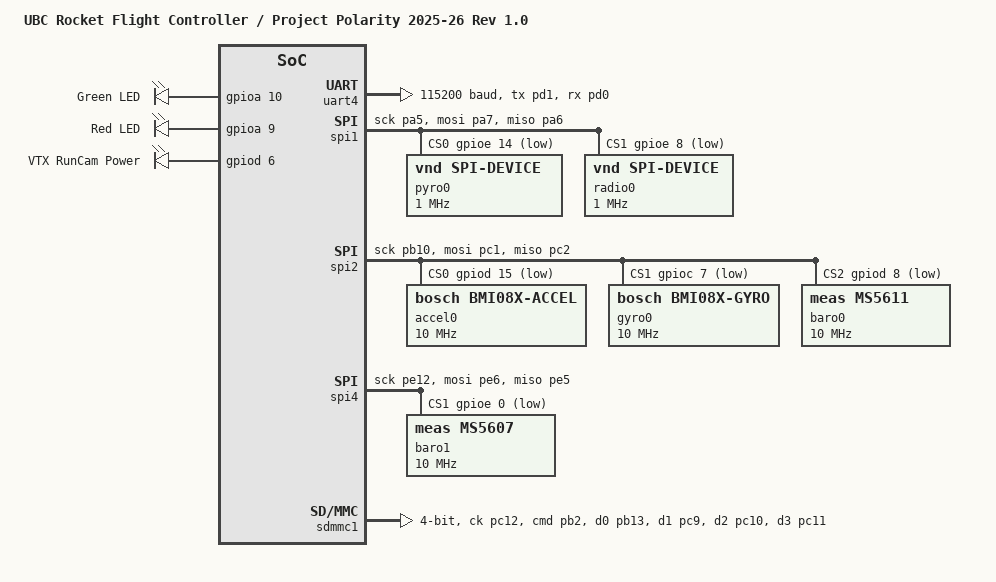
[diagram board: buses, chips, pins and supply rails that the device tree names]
/dts-v1/;
#include "ubcrocket_polarity-common.dtsi"

/ {
	model = "UBC Rocket Flight Controller / Project Polarity 2025-26 Rev 1.0";
	compatible = "ubcrocket,ubcrocket_polarity";

	#address-cells = <1>;
	#size-cells = <1>;

	chosen {
		zephyr,console = &usart1;
		zephyr,shell-uart = &usart1;
		zephyr,sram = &sram1;
		zephyr,flash = &flash0;
		zephyr,code-partition = &slot0_partition;
	};

    leds {
		compatible = "gpio-leds";

		// led0: driven by vtx_power.c as a visual mirror of the vtx_pwr
		// output on PD6 (lit = VTX/RunCam rail powered).
		green_led: green-led {
			gpios = <&gpioa 10 GPIO_ACTIVE_HIGH>;
			label = "Green LED";
		};

        red_led: red-led {
			gpios = <&gpioa 9 GPIO_ACTIVE_HIGH>;
			label = "Red LED";
		};
	};

	outputs {
		compatible = "gpio-leds";

		// VTX/RunCam power switch on PD6 (confirmed by hardware team).
		// PD6/PD5 are the USART2 RX/TX pair on this package, but the pair is
		// broken up here: PD6 is a plain GPIO output and PD5 is left
		// unconfigured. See the usart2 note below.
		// Active level assumed high.
		vtx_pwr: vtx-pwr {
			gpios = <&gpiod 6 GPIO_ACTIVE_HIGH>;
			label = "VTX RunCam Power";
		};
	};

	aliases {
        led0 = &green_led;
        led1 = &red_led;
        accel0 = &accel0;
        gyro0 = &gyro0;
        baro0 = &baro0;
        baro1 = &baro1;
        pyro0 = &pyro0;
        radio0 = &radio0;
        sdmmc1 = &sdmmc1;
        vtx-pwr = &vtx_pwr;
        runcam-uart = &uart4;
    };
};

// RunCam control UART on UART4 (confirmed by hardware team).
// Pin pair is PD1 (TX) / PD0 (RX); the earlier PA0/PA1 assumption was wrong.
// Baud is the RunCam Device Protocol default.
&uart4 {
    status = "okay";
    pinctrl-0 = <&uart4_tx_pd1 &uart4_rx_pd0>;
    pinctrl-names = "default";
    current-speed = <115200>;
};

// USART2 is intentionally absent. The RFD900x modem serial was assumed to
// live here (first on PA2/PA3, then on the PD5 TX / PD6 RX pair), but the
// modem's data serial is fed by the ulysses-gnss-radio board and FALCON
// driving a UART TX into it contends with that path. The pair is now split
// up: PD6 is the vtx_pwr GPIO output (see the outputs node above) and PD5 is
// left unconfigured. The SoC dtsi leaves usart2 disabled and nothing needs
// it: remote AT reconfiguration goes through the GNSS board's SPI
// passthrough opcodes instead (firmware/src/radio/rfd900x.c).

// Enable and configure SPI2
&spi1 {
    status = "okay";
    pinctrl-0 = <&spi1_sck_pa5 &spi1_mosi_pa7 &spi1_miso_pa6>;
    pinctrl-names = "default";

    cs-gpios = <&gpioe 14 (GPIO_ACTIVE_LOW | GPIO_PULL_UP)>,
               <&gpioe 8 (GPIO_ACTIVE_LOW | GPIO_PULL_UP)>;

    // Pyro board CS on PE14
    pyro0: pyro0@0 {
        status = "okay";
        compatible = "vnd,spi-device";
        reg = <0>;
        spi-max-frequency = <1000000>;
    };

    // Radio board CS on PE8
    radio0: radio0@1 {
        status = "okay";
        compatible = "vnd,spi-device";
        reg = <1>;
        spi-max-frequency = <1000000>;
    };
};

// Enable and configure SPI2
&spi2 {
    status = "okay";
    pinctrl-0 = <&spi2_sck_pb10 &spi2_mosi_pc1 &spi2_miso_pc2>;
    pinctrl-names = "default";

    // Chip select pins: Accel on PD15, Gyro on PC7, Baro on PD8
    cs-gpios = <&gpiod 15 (GPIO_ACTIVE_LOW | GPIO_PULL_UP)>, <&gpioc 7 (GPIO_ACTIVE_LOW | GPIO_PULL_UP)>, <&gpiod 8 (GPIO_ACTIVE_LOW | GPIO_PULL_UP)>;

    // BMI088 Accelerometer
    accel0: bmi088-accel@0 {
        status = "okay";
        compatible = "bosch,bmi08x-accel";
        reg = <0>;
        spi-max-frequency = <10000000>;

        // Required properties:  https://docs.zephyrproject.org/latest/build/dts/api/bindings/sensor/bosch%2Cbmi08x-accel-spi.html
        accel-hz = "400";
        accel-fs = <24>;

        // Interrupt pins
        // int-gpios = <&gpiod 12 GPIO_ACTIVE_HIGH>;
        // int2-gpios = <&gpiod 14 GPIO_ACTIVE_HIGH>;
    };

    // BMI088 Gyroscope
    gyro0: bmi088-gyro@1 {
        status = "okay";
        compatible = "bosch,bmi08x-gyro";
        reg = <1>;
        spi-max-frequency = <10000000>;

        // Required properties: https://docs.zephyrproject.org/latest/build/dts/api/bindings/sensor/bosch%2Cbmi08x-gyro-spi.html
        gyro-hz = "1000_116";
        gyro-fs = <2000>;

        // Interrupt pins
        // int-gpios = <&gpiod 11 GPIO_ACTIVE_HIGH>;
        // int4-gpios = <&gpiod 10 GPIO_ACTIVE_HIGH>;
    };

    //MS5611 Barometer (same driver as ms5607)
    baro0: ms5611@2 {
        status = "okay";
        compatible = "meas,ms5611";
        reg = <2>;
        spi-max-frequency = <10000000>;
    };
};

// Enable and configure SPI4
&spi4 {
    status = "okay";
    pinctrl-0 = <&spi4_sck_pe12 &spi4_mosi_pe6 &spi4_miso_pe5>;
    pinctrl-names = "default";
    cs-gpios = <&gpiod 8 (GPIO_ACTIVE_LOW | GPIO_PULL_UP)>, <&gpioe 0 (GPIO_ACTIVE_LOW | GPIO_PULL_UP)>;

    baro1: ms5607@1 {
        status = "okay";
        compatible = "meas,ms5607";
        reg = <1>;
        spi-max-frequency = <10000000>;
    };
};

// Enable and configure SDMMC1
&sdmmc1 {
    status = "okay";
    disk-name = "SDMMC";
    bus-width = <4>;
    pinctrl-0 = <&sdmmc1_ck_pc12 &sdmmc1_cmd_pb2 &sdmmc1_d0_pb13 &sdmmc1_d1_pc9 &sdmmc1_d2_pc10 &sdmmc1_d3_pc11>;
    pinctrl-names = "default";
    clk-div = <2>;  // Set clock divider to reduce frequency
};
